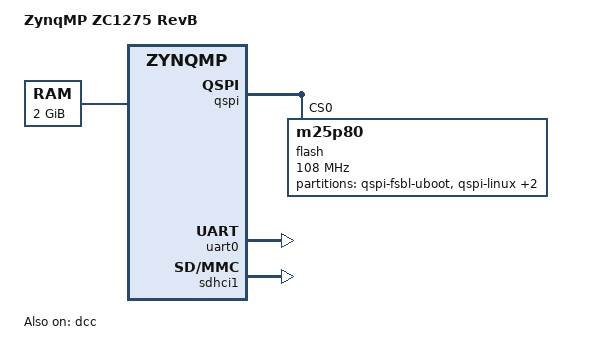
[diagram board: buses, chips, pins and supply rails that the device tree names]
// SPDX-License-Identifier: GPL-2.0
/*
 * dts file for Xilinx ZynqMP ZC1275 RevB
 *
 * (C) Copyright 2018, Xilinx, Inc.
 *
 * Michal Simek <michal.simek@xilinx.com>
 * Siva Durga Prasad Paladugu <sivadur@xilinx.com>
 */

/dts-v1/;

#include "zynqmp.dtsi"
#include "zynqmp-clk-ccf.dtsi"

/ {
	model = "ZynqMP ZC1275 RevB";
	compatible = "xlnx,zynqmp-zc1275-revB", "xlnx,zynqmp-zc1275", "xlnx,zynqmp";

	aliases {
		serial0 = &uart0;
		serial1 = &dcc;
		spi0 = &qspi;
		mmc0 = &sdhci1;
	};

	chosen {
		bootargs = "earlycon";
		stdout-path = "serial0:115200n8";
	};

	memory@0 {
		device_type = "memory";
		reg = <0x0 0x0 0x0 0x80000000>;
	};
};

&dcc {
	status = "okay";
};

&qspi {
	status = "okay";
	flash@0 {
		compatible = "m25p80", "jedec,spi-nor"; /* 32MB */
		#address-cells = <1>;
		#size-cells = <1>;
		reg = <0x0>;
		spi-tx-bus-width = <1>;
		spi-rx-bus-width = <1>;
		spi-max-frequency = <108000000>; /* Based on DC1 spec */
		partition@qspi-fsbl-uboot { /* for testing purpose */
			label = "qspi-fsbl-uboot";
			reg = <0x0 0x100000>;
		};
		partition@qspi-linux { /* for testing purpose */
			label = "qspi-linux";
			reg = <0x100000 0x500000>;
		};
		partition@qspi-device-tree { /* for testing purpose */
			label = "qspi-device-tree";
			reg = <0x600000 0x20000>;
		};
		partition@qspi-rootfs { /* for testing purpose */
			label = "qspi-rootfs";
			reg = <0x620000 0x5E0000>;
		};
	};
};

&uart0 {
	status = "okay";
};

&sdhci1 {
	status = "okay";
	no-1-8-v;
	xlnx,mio_bank = <1>;
};
